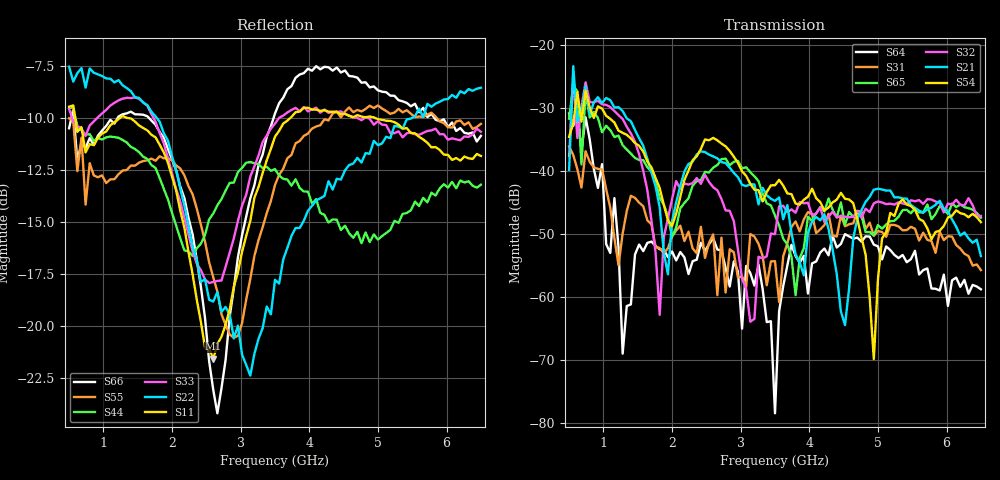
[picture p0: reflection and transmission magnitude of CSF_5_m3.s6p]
!Keysight Technologies,M9804A,MY58100912,A.14.10.03
!Date: Thursday, April 27, 2023 10:28:33
!Correction: S11(C  6-Port  )
!S12(C  6-Port  )
!S13(C  6-Port  )
!S14(C  6-Port  )
!S15(C  6-Port  )
!S16(C  6-Port  )
!S21(C  6-Port  )
!S22(C  6-Port  )
!S23(C  6-Port  )
!S24(C  6-Port  )
!S25(C  6-Port  )
!S26(C  6-Port  )
!S31(C  6-Port  )
!S32(C  6-Port  )
!S33(C  6-Port  )
!S34(C  6-Port  )
!S35(C  6-Port  )
!S36(C  6-Port  )
!S41(C  6-Port  )
!S42(C  6-Port  )
!S43(C  6-Port  )
!S44(C  6-Port  )
!S45(C  6-Port  )
!S46(C  6-Port  )
!S51(C  6-Port  )
!S52(C  6-Port  )
!S53(C  6-Port  )
!S54(C  6-Port  )
!S55(C  6-Port  )
!S56(C  6-Port  )
!S61(C  6-Port  )
!S62(C  6-Port  )
!S63(C  6-Port  )
!S64(C  6-Port  )
!S65(C  6-Port  )
!S66(C  6-Port  )
!S6P File: Measurement: :
# Hz S  RI  R 50
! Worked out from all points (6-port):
!   101 points, 500 MHz to 6.5 GHz, reference 50 ohm
!   strongest paths, dB at 500 MHz, 2 GHz, 3.5 GHz, 5 GHz, 6.5 GHz:
!     S54: -34.5, -48.7, -42.2, -57.1, -48.1
!     S21: -39.8, -47.9, -44.7, -42.8, -53.5
!     S32: -37.6, -44.4, -50.0, -44.8, -47.1
!     S65: -31.6, -50.4, -47.0, -48.6, -47.4
!     S31: -36.0, -50.4, -54.3, -49.5, -55.7
!     S64: -30.8, -52.7, -78.4, -51.9, -58.7
!   lowest |S11| = -21.6 dB at 2.6 GHz (marker M1), VSWR 1.18, Z = 42.6 + j2.07 ohm
!   |S11| at or under -10 dB: 589.3 MHz to 1.236 GHz (646.4 MHz wide, 70.8 % of centre); 1.388 GHz to 3.717 GHz (2.329 GHz wide, 91.2 % of centre); 4.971 GHz to end of sweep
